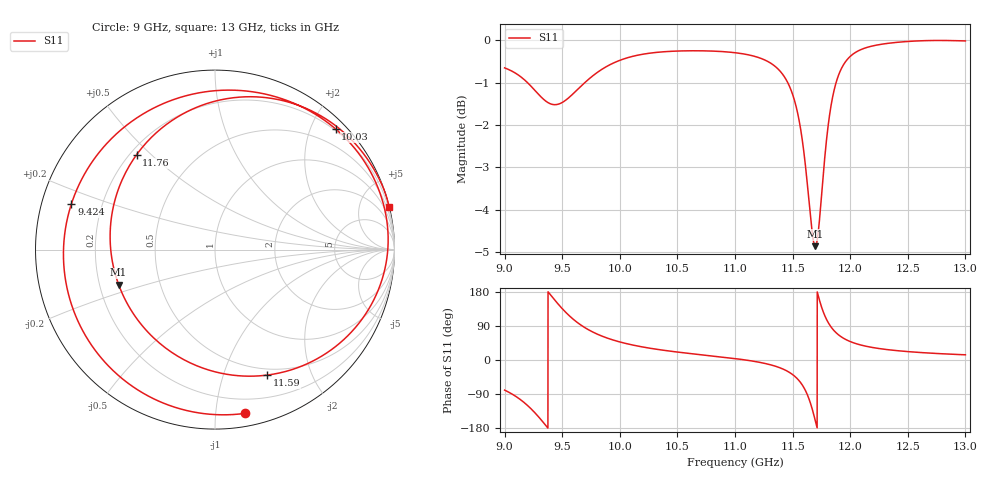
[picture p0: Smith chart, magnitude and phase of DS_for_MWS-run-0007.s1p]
! TOUCHSTONE file generated by CST DESIGN STUDIO
! Date and time: Tue Feb  4 12:43:42 2025
! Project name: C:\Work\MatlabApps\UnitCellOptimizationMatlab\CST\unitcell.cst
! Tree item: Tasks\Sweep1\SPara1\S-Parameters
! Header version: 2024
! Port assignment regex: !\s*Touchstone port\s*([0-9]+)\s*=\s*(CST MWS port|CST DES external port|CST DES block port)\s*(.+)\s* \(\"(.*)\"\)(\s*mode\s*([0-9]+))?.*
! Touchstone port assignment:
! Touchstone port 1 = CST DES external port 1 ("")
# GHz S MA R 50
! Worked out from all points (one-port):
!   4001 points, 9 GHz to 13 GHz, reference 50 ohm
!   lowest |S11| = -4.9 dB at 11.7 GHz (marker M1), VSWR 3.66, Z = 14 - j8.12 ohm
!   |S11| at or under -10 dB: nowhere
!   S11 on the Smith chart (normalised r, x): 9 GHz: 0.09, -1.20; 9.424 GHz: 0.09, +0.15; 10.03 GHz: 0.17, +2.40; 11.59 GHz: 0.43, -1.41; 11.76 GHz: 0.23, +0.45; 13 GHz: 0.06, +8.31
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9  0.9278 -79.5
9.121  0.9095 -100.9
9.215  0.8867 -124.5
9.329  0.854 -162.2
9.424  0.8396 162.3
9.5  0.8444 135.6
9.582  0.8614 111.2
9.677  0.8863 89.2
9.826  0.9206 65.4
10  0.947 47.6
10.033  0.9505 45.0
10.5  0.9712 21.0
11  0.9668 3.8
11.333  0.9351 -14.8
11.429  0.9054 -25.6
11.5  0.8633 -38.4
11.587  0.7575 -67.3
11.645  0.6394 -105.0
11.697  0.5712 -160.0
11.728  0.6028 163.6
11.763  0.6857 129.6
11.8  0.775 103.8
11.842  0.8495 83.9
11.913  0.9195 63.1
12  0.9571 48.7
12.184  0.9841 33.5
12.5  0.9969 22.2
13  0.9984 13.7
